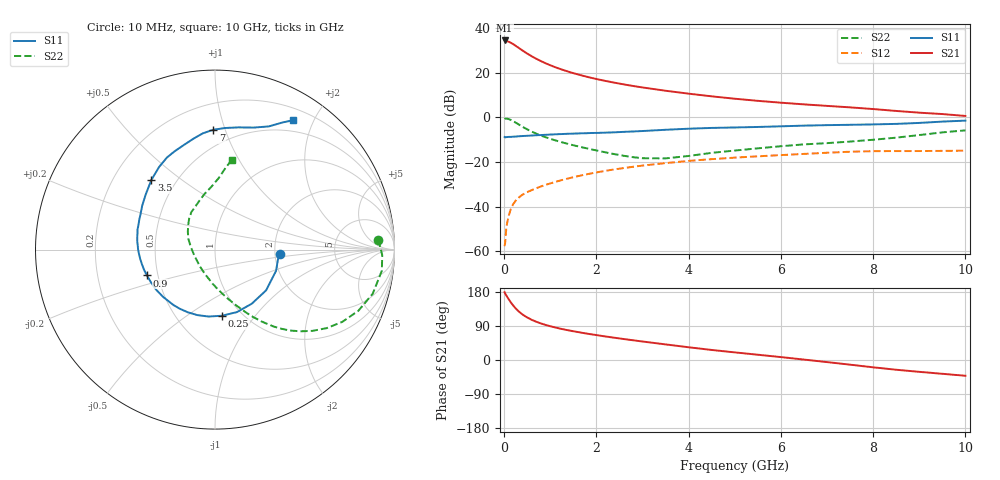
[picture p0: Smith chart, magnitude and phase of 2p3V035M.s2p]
! (c) 2009  Infineon Technologies AG, Munich
! Infineon Technologies  Discrete & RF Semiconductors
! BFP420
! VCE =  3.0 V,  IC =  35 mA
! Common Emitter S-Parameters:  Nov 2009
# GHz  S  MA  R  50
!  f  S11  S21  S12  S22
! GHz  MAG  ANG  MAG  ANG  MAG  ANG  MAG  ANG
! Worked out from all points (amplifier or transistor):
!   46 points, 10 MHz to 10 GHz, reference 50 ohm
!   highest |S21| = 34.4 dB at 10 MHz (marker M1)
!   |S21| within 3 dB of that: start of sweep to 292.7 MHz
!   unconditionally stable (mu >= 1): start of sweep to 12.98 MHz; 1.457 GHz to end of sweep
!   at 300 MHz: K = 0.43, MSG = 33.8 dB, |S12| = -36.2 dB
!   at 1.7 GHz: K = 1.04, MAG = 21.1 dB, |S12| = -25.9 dB
!   at 10 GHz: K = 1.06, MAG = 6.3 dB, |S12| = -14.9 dB
!   lowest NFmin = 1.64 dB at 900 MHz
!   S11 on the Smith chart (normalised r, x): 10 MHz: 2.13, -0.11; 250 MHz: 0.81, -0.70; 900 MHz: 0.43, -0.15; 3.5 GHz: 0.36, +0.39; 7 GHz: 0.38, +0.91; 10 GHz: 0.35, +1.72
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0.01  0.3623 -3.7  52.67 179.0  0.0013 87.2  0.9122 3.4
0.02  0.3552 -8.0  51.51 175.8  0.0015 91.4  0.9322 -1.9
0.05  0.3602 -19.2  50.92 169.8  0.0036 82.6  0.937 -7.2
0.1  0.3641 -38.6  49.27 160.1  0.0063 78.7  0.9127 -15.6
0.15  0.3645 -55.8  46.48 151.1  0.0092 73.7  0.8685 -23.1
0.2  0.369 -70.6  43.32 143.2  0.0115 70.1  0.8154 -29.6
0.25  0.3704 -84.0  39.92 136.1  0.0136 67.3  0.7608 -35.1
0.3  0.3747 -95.4  36.86 130.0  0.0154 64.9  0.7073 -39.8
0.35  0.378 -105.1  33.94 124.7  0.017 63.3  0.6578 -43.8
0.4  0.3807 -113.4  31.3 120.0  0.0185 62.0  0.6132 -47.3
0.5  0.386 -127.1  26.8 112.3  0.0211 60.5  0.5371 -52.8
0.6  0.3913 -137.8  23.23 105.9  0.0235 59.9  0.477 -57.1
0.7  0.3972 -146.2  20.39 100.8  0.0259 59.6  0.4289 -60.7
0.9  0.406 -159.2  16.23 92.5  0.0307 59.6  0.3577 -66.6
1.3  0.4242 -176.7  11.3 80.6  0.0405 59.0  0.2677 -77.3
1.7  0.4388 170.9  8.573 71.6  0.0507 57.3  0.2118 -88.2
2.4  0.4614 153.6  5.941 58.6  0.0684 52.3  0.1492 -110.9
3.5  0.5259 132.3  3.937 41.1  0.0944 42.3  0.1203 -165.4
5.5  0.6081 106.6  2.339 13.9  0.1338 23.3  0.2017 137.9
7  0.668 90.8  1.803 -5.5  0.1609 9.0  0.2642 114.3
8.5  0.7131 72.4  1.389 -25.7  0.1753 -8.2  0.3505 93.3
10  0.8432 58.8  1.073 -41.6  0.179 -19.6  0.5104 79.3
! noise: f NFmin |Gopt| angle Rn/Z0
0.9  1.64  0.3  -155  0.13
1.8  1.9  0.37  -142  0.15
2.4  2.1  0.34  -134  0.19
3  2.11  0.4  -126  0.22
4  2.25  0.5  -110  0.35
5  2.73  0.54  -94  0.59
6  3.16  0.59  -82  0.84
